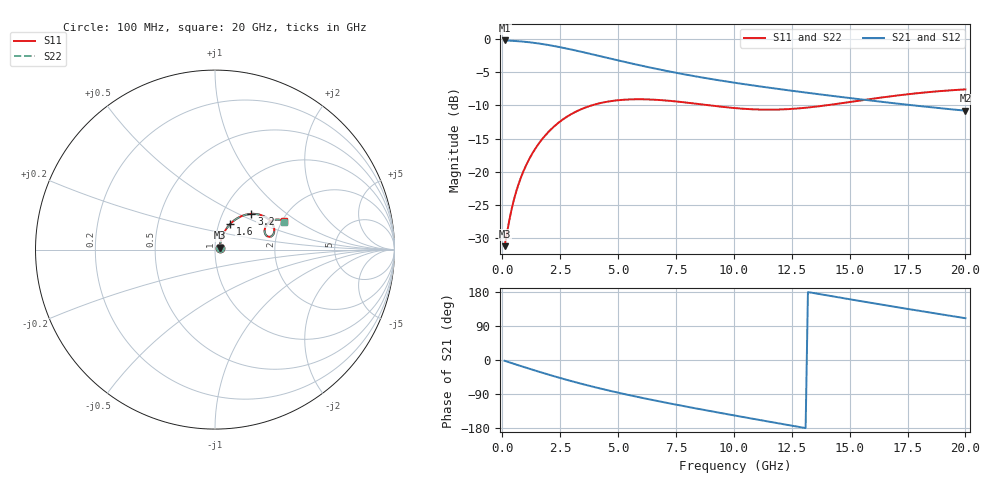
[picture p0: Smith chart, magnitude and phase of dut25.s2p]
! Touchstone file exported from HFSS 2024.1.0
!  File:  C:/UserFiles/LocalFiles/RDL_TSV_Batchsim/temp_RDL_TSV_25_1779400963.aedt
!  Generated:  06:19:03 AM May 22, 2026
!  Design:  RDL_TSV
!  Project:  temp_RDL_TSV_25_1779400963
!  Setup:  Setup1
!  Solution:  Sweep
! Variables:
!  dtsv = 5.53um
!  hbump = 3um
!  htsv = 72.79um
!  ldown = 463.81um
!  lrdl = 594.91um
!  p = 40
!  p1 = 52.69um
!  rhole = 10um
!  subl = 3771.07um
!  t = 450um
!  tdown = 4.55um
!  trdl = 2.68um
!  viad = 10um
!  wdown = 16.98um
!  wrdl = 18.28um
!  xbump = 18um
# GHz S MA R 50.000000
! Terminal data exported
! Port[1] = TM1_1_T1
! Port[2] = TM1_4_T1
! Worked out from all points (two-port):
!   200 points, 100 MHz to 20 GHz, reference 50 ohm
!   highest |S21| = -0.22 dB at 100 MHz (marker M1); lowest = -10.8 dB at 20 GHz (marker M2)
!   |S21| within 3 dB of the highest: start of sweep to 4.996 GHz
!   lowest |S11| = -31.2 dB at 100 MHz (marker M3), VSWR 1.06, Z = 52.6 + j1.16 ohm
!   |S11| at or under -10 dB: start of sweep to 3.869 GHz; 8.946 GHz to 13.99 GHz (5.045 GHz wide, 44 % of centre)
!   |S22| runs from -31.2 to -7.6 dB; largest |S21 - S12| = 1.3e-14
!   S11 on the Smith chart (normalised r, x): 100 MHz: 1.05, +0.02; 1.6 GHz: 1.13, +0.33; 3.2 GHz: 1.36, +0.59; 20 GHz: 2.06, +0.78
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0.1  0.02745 23.6  0.9749 -2.1  0.9749 -2.1  0.02745 23.6
! Gamma 0 0 0 0
! Port Impedance 50 0 50 0
0.4  0.05191 53.7  0.9699 -8.1  0.9699 -8.1  0.05191 53.6
0.5  0.06128 57.0  0.9675 -10.1  0.9675 -10.1  0.06129 56.9
0.7  0.0803 60.4  0.962 -14.0  0.962 -14.0  0.08031 60.4
1.1  0.1185 61.8  0.9477 -21.8  0.9477 -21.8  0.1185 61.8
1.6  0.165 59.4  0.9237 -31.2  0.9237 -31.2  0.165 59.4
2  0.1999 56.2  0.9002 -38.6  0.9002 -38.6  0.1998 56.1
2.4  0.2318 52.4  0.874 -45.7  0.874 -45.7  0.2317 52.4
3.2  0.2846 44.4  0.8168 -59.3  0.8168 -59.3  0.2844 44.4
3.5  0.3002 41.5  0.7948 -64.1  0.7948 -64.1  0.3 41.4
4.2  0.3278 34.9  0.7442 -74.8  0.7442 -74.8  0.3275 34.8
5.1  0.3469 27.5  0.6835 -87.6  0.6835 -87.6  0.3465 27.4
5.9  0.3515 22.2  0.6355 -98.2  0.6355 -98.2  0.3511 22.1
6.8  0.3467 17.6  0.5884 -109.4  0.5884 -109.4  0.3463 17.5
8.4  0.3248 13.4  0.5209 -128.2  0.5209 -128.2  0.3242 13.3
10.1  0.3009 14.3  0.4662 -147.2  0.4662 -147.2  0.3004 14.3
11.7  0.2934 18.8  0.4252 -164.7  0.4252 -164.7  0.2928 18.8
13.4  0.3071 24.0  0.3887 177.1  0.3887 177.1  0.3066 23.9
15.1  0.3367 26.7  0.3572 159.3  0.3572 159.3  0.3362 26.6
16.7  0.3684 26.7  0.3312 142.9  0.3312 142.9  0.3679 26.6
18.3  0.3962 24.9  0.3086 126.9  0.3086 126.9  0.3955 24.8
20  0.4171 22.1  0.2883 110.3  0.2883 110.3  0.4164 22.0
